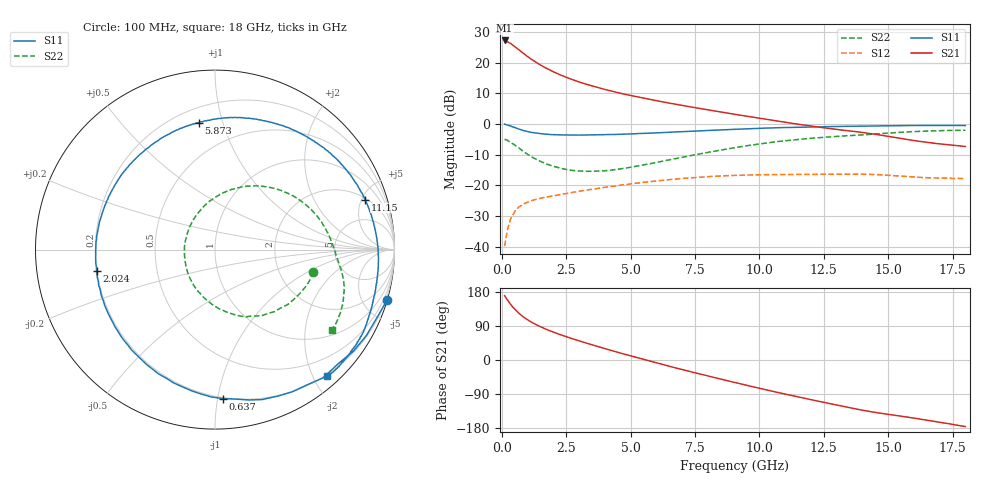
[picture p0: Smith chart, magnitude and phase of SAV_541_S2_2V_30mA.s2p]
! Data provided by Modelithics, Inc.  Tampa, Florida USA, June 2008
!Model SAV-541+
!VAR V_out= 2
!VAR I_out= 30
!VAR V_in= 0.3940
!VAR I_in= 0.9720
!BEGIN ACDATA
# GHZ S MA R 50
! Scattering Parameters
!% F n11x n11y n21x n21y n12x n12y n22x n22y
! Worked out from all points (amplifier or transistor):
!   401 points, 100 MHz to 18 GHz, reference 50 ohm
!   highest |S21| = 27.2 dB at 100 MHz (marker M1)
!   |S21| within 3 dB of that: start of sweep to 648.8 MHz
!   unconditionally stable (mu >= 1): 4.174 GHz to 10.93 GHz
!   at 3.054 GHz: K = 0.88, MSG = 17.7 dB, |S12| = -21.8 dB
!   at 9.05 GHz: K = 1.05, MAG = 8.5 dB, |S12| = -16.7 dB
!   at 18 GHz: K = 0.92, MSG = 5.2 dB, |S12| = -17.7 dB
!   lowest NFmin = 0.10 dB at 500 MHz
!   S11 on the Smith chart (normalised r, x): 100 MHz: 0.02, -6.95; 637 MHz: 0.19, -1.04; 2.024 GHz: 0.20, -0.09; 5.873 GHz: 0.29, +0.84; 11.15 GHz: 2.13, +5.34; 18 GHz: 0.17, -2.21
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0.1  0.9992 -16.4  22.85 169.8  0.01031 79.9  0.558 -12.7
0.1895  0.9698 -29.6  21.86 160.5  0.01708 74.1  0.547 -21.7
0.279  0.9361 -42.6  20.92 151.7  0.02351 68.3  0.5207 -31.8
0.3685  0.9117 -55.8  19.9 143.8  0.03038 61.0  0.4905 -41.4
0.50275  0.8757 -72.6  18.12 133.4  0.03843 54.9  0.4515 -54.4
0.637  0.8314 -86.9  16.32 124.5  0.04429 48.5  0.4138 -64.9
0.77125  0.7974 -99.4  14.71 116.9  0.0483 43.3  0.3734 -74.4
0.9055  0.7665 -110.5  13.31 110.1  0.05123 39.5  0.34 -82.9
1.174  0.727 -129.6  11.06 98.8  0.05726 33.5  0.2883 -98.2
1.532  0.6932 -149.1  8.916 86.5  0.0626 28.6  0.2417 -115.5
2.02425  0.6706 -169.8  6.978 72.8  0.06854 23.6  0.2038 -136.1
2.56125  0.662 172.3  5.611 59.9  0.07516 19.4  0.1805 -156.3
3.09825  0.6598 157.0  4.674 48.3  0.08178 15.0  0.171 -174.6
4.396  0.6761 126.3  3.312 22.2  0.09845 5.0  0.1811 146.3
5.87275  0.7135 97.1  2.449 -5.3  0.1169 -8.9  0.2305 111.6
6.0965  0.7216 93.2  2.353 -9.3  0.1197 -11.3  0.2418 107.4
7.439  0.7649 70.8  1.862 -32.8  0.134 -25.6  0.3126 83.6
9.05  0.8181 46.9  1.435 -59.3  0.1462 -43.6  0.4126 59.2
11.15325  0.8819 18.4  1.043 -92.3  0.1512 -67.8  0.5425 31.2
12.04825  0.8983 7.5  0.9212 -105.3  0.1517 -77.7  0.5887 20.5
15.0465  0.9348 -23.6  0.6259 -143.9  0.1466 -107.9  0.7125 -9.4
18  0.9427 -48.5  0.4307 -175.7  0.1298 -132.5  0.7914 -34.3
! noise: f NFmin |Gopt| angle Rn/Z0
0.5  0.1  0.322  24.68  0.069
0.7  0.139  0.3318  36.52  0.061
0.9  0.179  0.3413  48.1  0.055
1  0.198  0.346  53.79  0.052
1.9  0.375  0.3855  102.1  0.034
2.4  0.474  0.4054  126.7  0.031
3  0.591  0.4273  154.1  0.034
3.9  0.768  0.4563  -169.3  0.053
5  0.984  0.4853  -131.5  0.098
6  1.181  0.5055  -104  0.161
